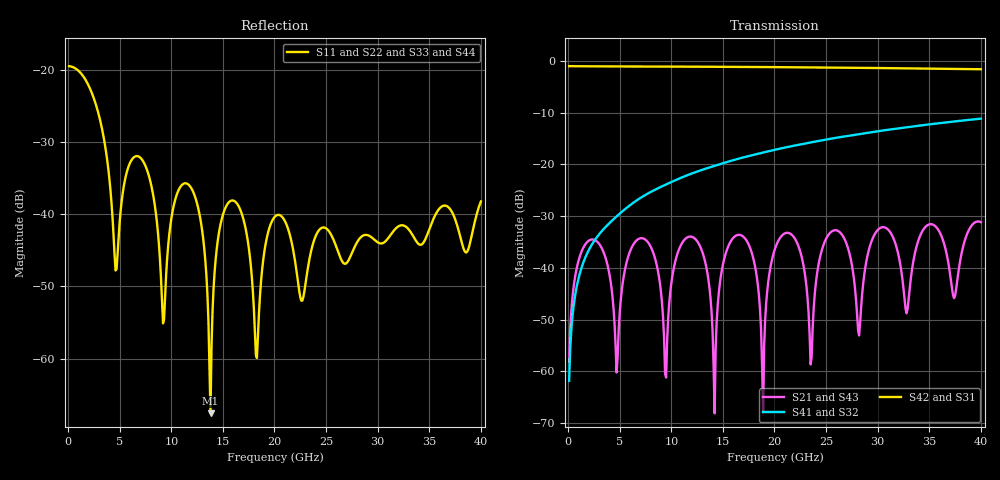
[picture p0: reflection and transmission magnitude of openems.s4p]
! T_ts6_xt_ms_s20: Microstrip aggressor and victim on L1, w 0.265 mm, edge gap 2·w = 0.53 mm, 20 mm
! stackup: ThunderScope Rev5.3 6-layer (FR408HR / FR-4, from the board file)
! ports: 1 near A, 2 near B, 3 far A, 4 far B
! openEMS 0.37.0, staircase, fine mesh (dfine 0.0175 mm), 1167950 cells
# Hz S RI R 50
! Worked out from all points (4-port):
!   400 points, 100 MHz to 40 GHz, reference 50 ohm
!   strongest paths, dB at 100 MHz, 10.1 GHz, 20.1 GHz, 30.1 GHz, 40 GHz:
!     S42: -1.0, -1.1, -1.2, -1.3, -1.6
!     S31: -1.0, -1.1, -1.2, -1.3, -1.6
!     S41: -61.9, -23.3, -17.1, -13.5, -11.1
!     S32: -61.9, -23.3, -17.1, -13.5, -11.1
!     S21: -58.1, -41.7, -36.0, -32.5, -31.2
!     S43: -58.1, -41.7, -36.0, -32.5, -31.2
!   lowest |S11| = -67.6 dB at 13.8 GHz (marker M1), VSWR 1.00, Z = 50 + j0.0201 ohm
!   |S11| at or under -10 dB: start of sweep to end of sweep
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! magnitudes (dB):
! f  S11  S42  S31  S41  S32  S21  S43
! 100 MHz  -19.5  -1.0  -1.0  -61.9  -61.9  -58.1  -58.1
! 13.8 GHz  -67.6  -1.1  -1.1  -20.5  -20.5  -45.8  -45.8
! 15.7 GHz  -38.2  -1.1  -1.1  -19.3  -19.3  -35.1  -35.1
! 18.9 GHz  -46.4  -1.1  -1.1  -17.7  -17.7  -68.0  -68.0
! 20.8 GHz  -40.5  -1.2  -1.2  -16.8  -16.8  -33.6  -33.6
! 23.5 GHz  -45.4  -1.2  -1.2  -15.7  -15.7  -58.7  -58.7
! 40 GHz  -38.2  -1.6  -1.6  -11.1  -11.1  -31.2  -31.2
